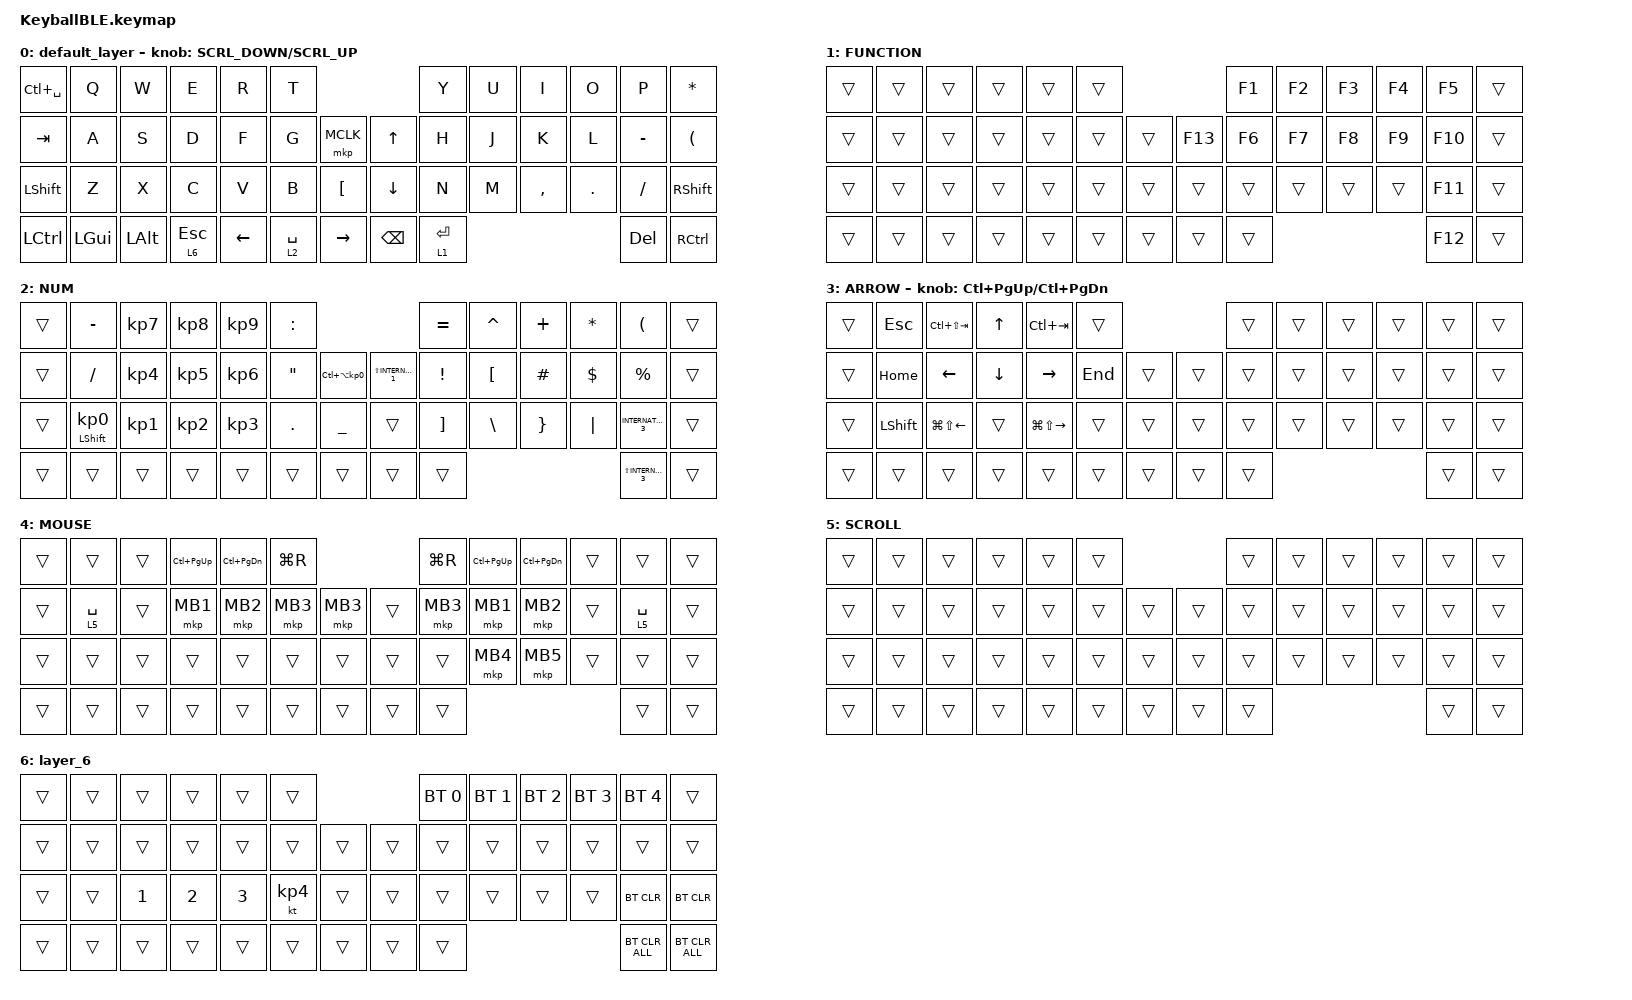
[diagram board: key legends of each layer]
#define ZMK_POINTING_DEFAULT_SCRL_VAL 120    // default: 10

#include <behaviors.dtsi>
#include <dt-bindings/zmk/bt.h>
#include <dt-bindings/zmk/keys.h>
#include <dt-bindings/zmk/pointing.h>

&mt {
    flavor = "balanced";
    quick-tap-ms = <0>;
};

/ {
    combos {
        compatible = "zmk,combos";

        double_quotation {
            bindings = <&kp AT_SIGN>;
            key-positions = <20 21>;
        };
    };

    macros {
        ime_toggle: ime_toggle {
            compatible = "zmk,behavior-macro";
            #binding-cells = <0>;
            wait-ms = <30>;
            tap-ms = <30>;
            bindings
                = <&macro_press &kp LALT>
                , <&macro_tap &kp GRAVE>
                , <&macro_release &kp LALT>
                ;
            label = "IME_TOGGLE";
        };

        to_layer_0: to_layer_0 {
            compatible = "zmk,behavior-macro-one-param";
            #binding-cells = <1>;
            bindings = <&to 0 &macro_param_1to1 &kp MACRO_PLACEHOLDER>;
            label = "TO_LAYER_0";
        };
    };

    behaviors {
        lt_to_layer_0: lt_to_layer_0 {
            compatible = "zmk,behavior-hold-tap";
            label = "LAYER_TAP_TO_0";
            bindings = <&mo>, <&to_layer_0>;

            #binding-cells = <2>;
            tapping-term-ms = <200>;
        };

        ROTATE: ROTATE {
            compatible = "zmk,behavior-sensor-rotate-var";
            label = "ROTATE";
            #sensor-binding-cells = <2>;
            bindings = <&msc>, <&msc>;

            tap-ms = <20>;
        };
    };

    keymap {
        compatible = "zmk,keymap";

        default_layer {
            bindings = <
&kp LC(SPACE)     &kp Q             &kp W             &kp E             &kp R             &kp T             &kp Y             &kp U             &kp I             &kp O             &kp P             &kp ASTERISK
&kp TAB               &kp A                 &kp S                 &kp D                 &kp F                 &kp G                 &mkp MCLK             &kp UP_ARROW          &kp H                 &kp J                 &kp K                 &kp L                 &kp MINUS             &kp LEFT_PARENTHESIS
&kp LSHFT         &kp Z             &kp X             &kp C             &kp V             &kp B             &kp LEFT_BRACKET  &kp DOWN_ARROW    &kp N             &kp M             &kp COMMA         &kp DOT           &kp FSLH          &kp RSHFT
&kp LCTRL         &kp LGUI          &kp LALT          &lt 6 ESC         &kp LEFT_ARROW    &lt 2 SPACE       &kp RIGHT_ARROW   &kp BACKSPACE     &lt 1 ENTER       &kp DEL           &kp RCTRL
            
            
            
            
            
            
            
            
            >;

            sensor-bindings = <&ROTATE SCRL_DOWN SCRL_UP>;
        };

        FUNCTION {
            bindings = <
&trans  &trans  &trans  &trans  &trans  &trans                     &kp F1  &kp F2  &kp F3  &kp F4  &kp F5   &trans
&trans  &trans  &trans  &trans  &trans  &trans  &trans    &kp F13  &kp F6  &kp F7  &kp F8  &kp F9  &kp F10  &trans
&trans  &trans  &trans  &trans  &trans  &trans  &trans    &trans   &trans  &trans  &trans  &trans  &kp F11  &trans
&trans  &trans  &trans  &trans  &trans  &trans  &trans    &trans   &trans                          &kp F12  &trans
            >;
        };

        NUM {
            bindings = <
&trans  &kp MINUS                   &kp KP_NUMBER_7  &kp KP_NUMBER_8  &kp KP_NUMBER_9  &kp COLON                                                &kp EQUAL         &kp CARET          &kp PLUS        &kp ASTERISK          &kp LEFT_PARENTHESIS   &trans
&trans  &kp SLASH                   &kp KP_NUMBER_4  &kp KP_NUMBER_5  &kp KP_NUMBER_6  &kp DOUBLE_QUOTES  &kp LC(LA(KP_NUMBER_0))    &kp LS(INTERNATIONAL_1)  &kp EXCLAMATION   &kp LEFT_BRACKET  &kp HASH        &kp DOLLAR            &kp PERCENT            &trans
&trans  &mt LEFT_SHIFT KP_NUMBER_0  &kp KP_NUMBER_1  &kp KP_NUMBER_2  &kp KP_NUMBER_3  &kp PERIOD    &kp UNDERSCORE             &trans          &kp RIGHT_BRACKET  &kp BACKSLASH  &kp RIGHT_BRACE  &kp PIPE              &kp INTERNATIONAL_3   &trans
&trans  &trans                      &trans           &trans           &trans           &trans        &trans                     &trans          &trans                                                                     &kp LS(INTERNATIONAL_3)  &trans
            >;
        };

        ARROW {
            bindings = <
&trans  &kp ESCAPE      &kp LC(LS(TAB))         &kp UP_ARROW    &kp LC(TAB)              &trans                     &trans  &trans  &trans  &trans  &trans  &trans
&trans  &kp HOME        &kp LEFT_ARROW          &kp DOWN_ARROW  &kp RIGHT_ARROW          &kp END  &trans    &trans  &trans  &trans  &trans  &trans  &trans  &trans
&trans  &kp LEFT_SHIFT  &kp LG(LS(LEFT_ARROW))  &trans          &kp LG(LS(RIGHT_ARROW))  &trans   &trans    &trans  &trans  &trans  &trans  &trans  &trans  &trans
&trans  &trans          &trans                  &trans          &trans                   &trans   &trans    &trans  &trans                          &trans  &trans
            >;

            sensor-bindings = <&inc_dec_kp LC(PAGE_UP) LC(PAGE_DOWN)>;
        };

        MOUSE {
            bindings = <
&trans  &trans       &trans  &kp LC(PAGE_UP)  &kp LC(PAGE_DOWN)  &kp LG(R)                      &kp LG(R)  &kp LC(PAGE_UP)  &kp LC(PAGE_DOWN)  &trans  &trans       &trans
&trans  &lt 5 SPACE  &trans  &mkp MB1         &mkp MB2           &mkp MB3   &mkp MB3    &trans  &mkp MB3   &mkp MB1         &mkp MB2           &trans  &lt 5 SPACE  &trans
&trans  &trans       &trans  &trans           &trans             &trans     &trans      &trans  &trans     &mkp MB4         &mkp MB5           &trans  &trans       &trans
&trans  &trans       &trans  &trans           &trans             &trans     &trans      &trans  &trans                                                 &trans       &trans
            >;
        };

        SCROLL {
            bindings = <
&trans  &trans  &trans  &trans  &trans  &trans                    &trans  &trans  &trans  &trans  &trans  &trans
&trans  &trans  &trans  &trans  &trans  &trans  &trans    &trans  &trans  &trans  &trans  &trans  &trans  &trans
&trans  &trans  &trans  &trans  &trans  &trans  &trans    &trans  &trans  &trans  &trans  &trans  &trans  &trans
&trans  &trans  &trans  &trans  &trans  &trans  &trans    &trans  &trans                          &trans  &trans
            >;
        };

        layer_6 {
            bindings = <
&trans  &trans  &trans        &trans        &trans        &trans                       &bt BT_SEL 0  &bt BT_SEL 1  &bt BT_SEL 2  &bt BT_SEL 3  &bt BT_SEL 4    &trans
&trans  &trans  &trans        &trans        &trans        &trans     &trans    &trans  &trans        &trans        &trans        &trans        &trans          &trans
&trans  &trans  &kp NUMBER_1  &kp NUMBER_2  &kp NUMBER_3  &kt KP_N4  &trans    &trans  &trans        &trans        &trans        &trans        &bt BT_CLR      &bt BT_CLR
&trans  &trans  &trans        &trans        &trans        &trans     &trans    &trans  &trans                                                  &bt BT_CLR_ALL  &bt BT_CLR_ALL
            >;
        };
    };
};
